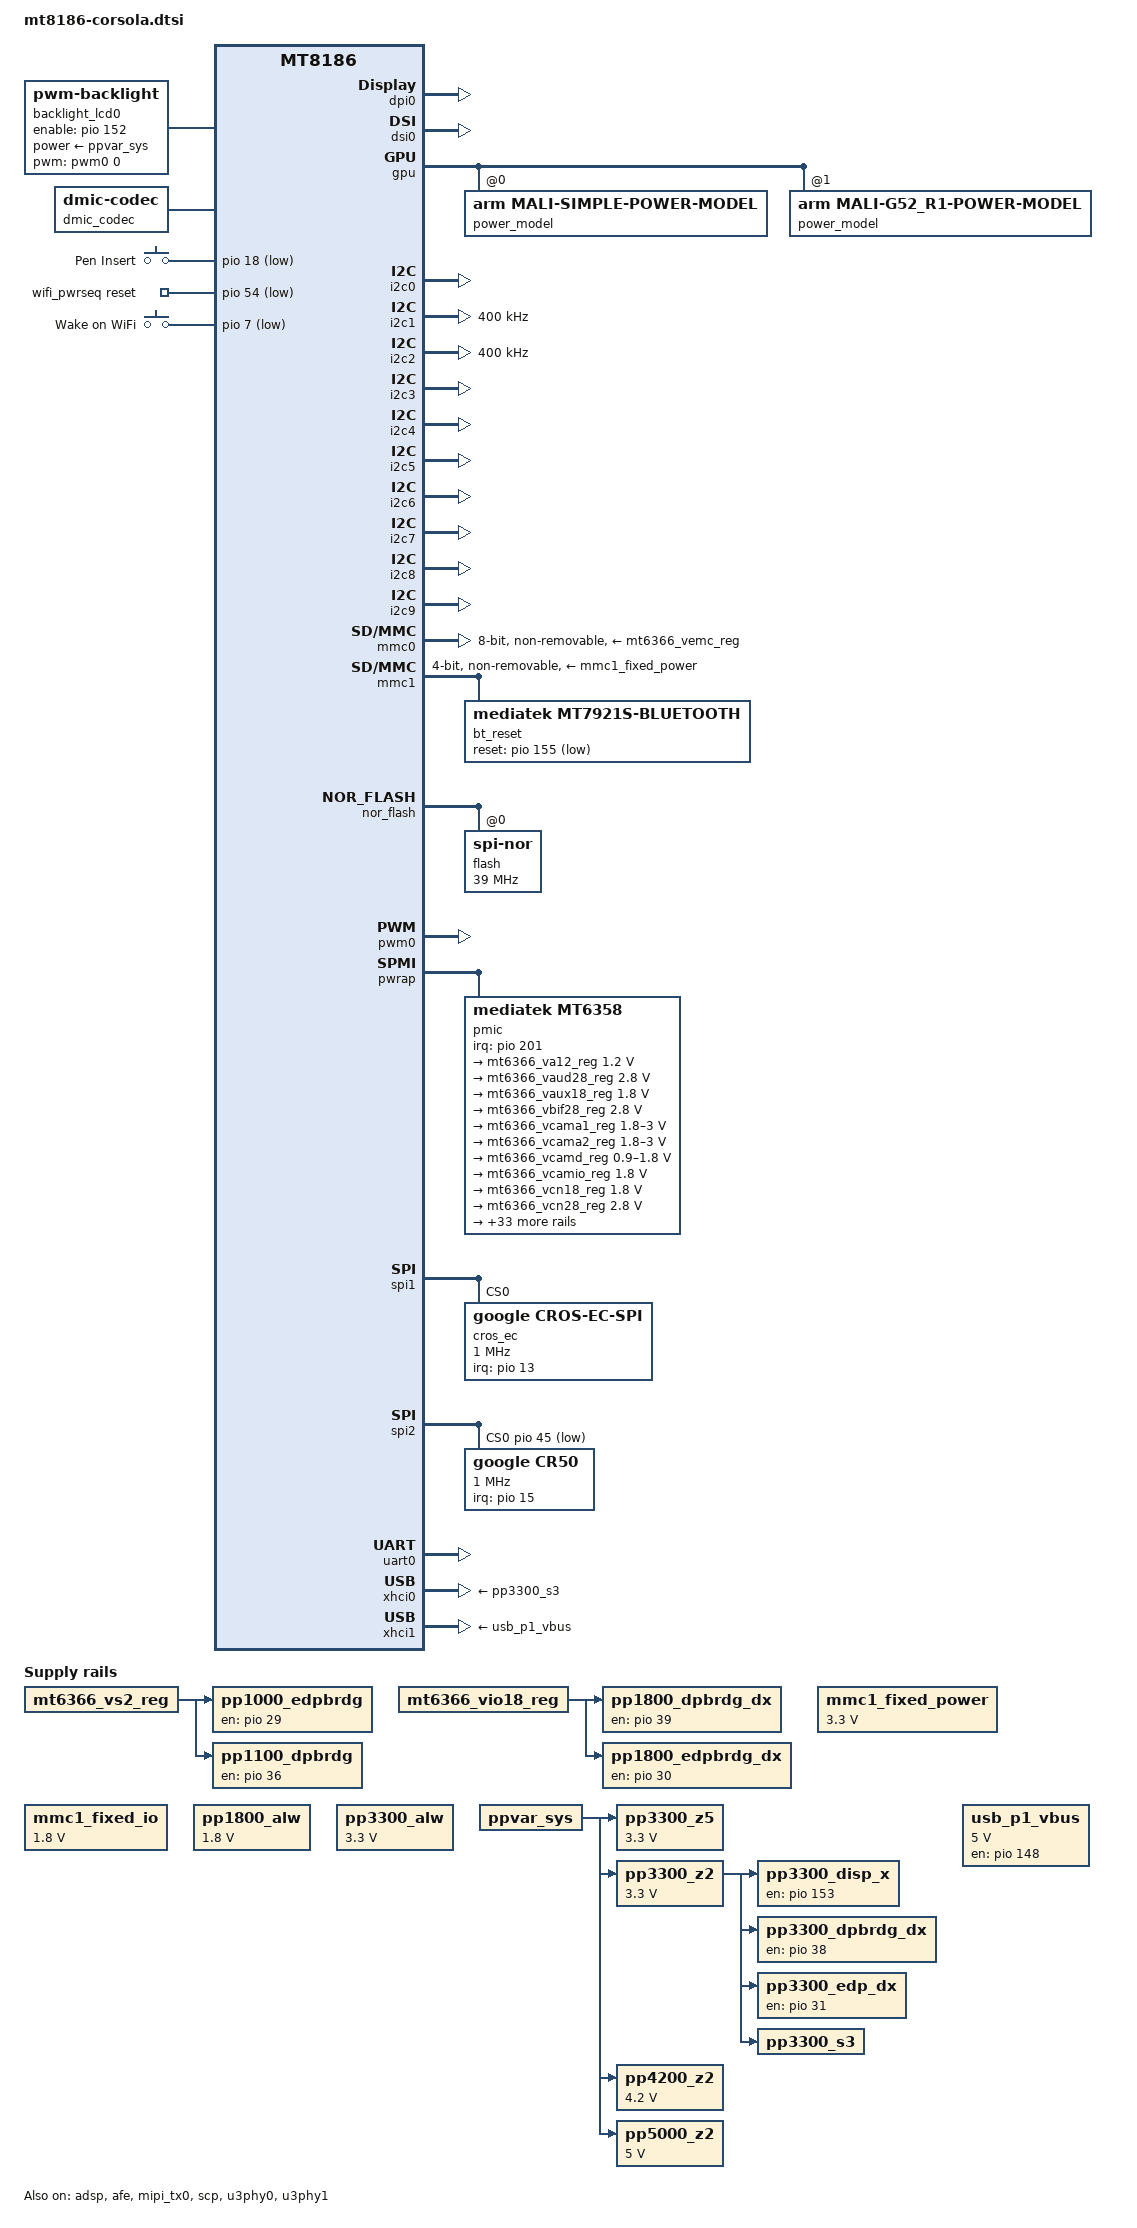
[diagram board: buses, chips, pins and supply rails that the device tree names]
// SPDX-License-Identifier: (GPL-2.0 OR MIT)
/*
 * Copyright (C) 2022 MediaTek Inc.
 */
/dts-v1/;
#include "mt8186.dtsi"
#include <dt-bindings/pinctrl/mt8186-pinfunc.h>
#include <dt-bindings/gpio/gpio.h>
#include <dt-bindings/input/input.h>
#include <dt-bindings/input/gpio-keys.h>

/ {
	aliases {
		i2c0 = &i2c0;
		i2c1 = &i2c1;
		i2c2 = &i2c2;
		i2c3 = &i2c3;
		i2c4 = &i2c4;
		i2c5 = &i2c5;
		i2c6 = &i2c6;
		i2c7 = &i2c7;
		i2c8 = &i2c8;
		i2c9 = &i2c9;
		mmc0 = &mmc0;
		mmc1 = &mmc1;
		serial0 = &uart0;
	};

	chosen {
		stdout-path = "serial0:115200n8";
	};

	memory@40000000 {
		device_type = "memory";
		/* The size should be filled in by the bootloader. */
		reg = <0 0x40000000 0 0>;
	};

	backlight_lcd0: backlight-lcd0 {
		status = "okay";

		compatible = "pwm-backlight";
		pwms = <&pwm0 0 500000>;
		power-supply = <&ppvar_sys>;
		enable-gpios = <&pio 152 0>;
		brightness-levels = <0 1023>;
		num-interpolated-steps = <1023>;
		default-brightness-level = <576>;
	};

	btsco: bt-sco {
		status = "okay";

		compatible = "linux,bt-sco";
	};

	dmic_codec: dmic-codec {
		status = "okay";

		compatible = "dmic-codec";
		num-channels = <2>;
		wakeup-delay-ms = <50>;
	};

	gpio_keys: gpio-keys {
		compatible = "gpio-keys";
		pinctrl-names = "default";
		pinctrl-0 = <&pen_eject>;

		pen_insert: pen-insert {
			label = "Pen Insert";
			/* Insert = low, eject = high */
			gpios = <&pio 18 GPIO_ACTIVE_LOW>;
			linux,code = <SW_PEN_INSERTED>;
			linux,input-type = <EV_SW>;
			wakeup-event-action = <EV_ACT_DEASSERTED>;
			wakeup-source;
		};
	};

	mmc1_fixed_power: fixedregulator@0 {
		compatible = "regulator-fixed";
		regulator-name = "mmc1_power";
		regulator-min-microvolt = <3300000>;
		regulator-max-microvolt = <3300000>;
	};

	mmc1_fixed_io: fixedregulator@1 {
		compatible = "regulator-fixed";
		regulator-name = "mmc1_io";
		regulator-min-microvolt = <1800000>;
		regulator-max-microvolt = <1800000>;
	};

	pp1000_edpbrdg: regulator-pp1000-edpbrdg {
		compatible = "regulator-fixed";
		regulator-name = "pp1000_edpbrdg";
		pinctrl-names = "default";
		pinctrl-0 = <&en_pp1000_edpbrdg>;
		enable-active-high;
		regulator-boot-on;
		gpio = <&pio 29 GPIO_ACTIVE_HIGH>;
		vin-supply = <&mt6366_vs2_reg>;
	};

	/* dp bridge anx7625bh regulators config */
	pp1100_dpbrdg: regulator-pp1100-dpbrdg {
		compatible = "regulator-fixed";
		regulator-name = "pp1100_dpbrdg";
		pinctrl-names = "default";
		pinctrl-0 = <&en_pp1100_dpbrdg>;
		enable-active-high;
		regulator-boot-on;
		gpio = <&pio 36 GPIO_ACTIVE_HIGH>;
		vin-supply = <&mt6366_vs2_reg>;
	};

	pp1800_alw: regulator-pp1800-alw {
		compatible = "regulator-fixed";
		regulator-name = "pp1800_alw";
		regulator-always-on;
		regulator-boot-on;
		regulator-min-microvolt = <1800000>;
		regulator-max-microvolt = <1800000>;
	};

	pp1800_dpbrdg_dx: regulator-pp1800-dpbrdg-dx {
		compatible = "regulator-fixed";
		regulator-name = "pp1800_dpbrdg_dx";
		pinctrl-names = "default";
		pinctrl-0 = <&en_pp1800_dpbrdg>;
		enable-active-high;
		gpio = <&pio 39 GPIO_ACTIVE_HIGH>;
		vin-supply = <&mt6366_vio18_reg>;
	};

	pp1800_edpbrdg_dx: regulator-pp1800-edpbrdg-dx {
		compatible = "regulator-fixed";
		regulator-name = "pp1800_edpbrdg_dx";
		pinctrl-names = "default";
		pinctrl-0 = <&en_pp1800_edpbrdg>;
		enable-active-high;
		regulator-boot-on;
		gpio = <&pio 30 GPIO_ACTIVE_HIGH>;
		vin-supply = <&mt6366_vio18_reg>;
	};

	pp3300_alw: regulator-pp300-alw {
		compatible = "regulator-fixed";
		regulator-name = "pp3300_alw";
		regulator-always-on;
		regulator-boot-on;
		regulator-min-microvolt = <3300000>;
		regulator-max-microvolt = <3300000>;
	};

	pp3300_disp_x: regulator-pp3300-disp-x {
		compatible = "regulator-fixed";
		regulator-name = "pp3300_disp_x";
		pinctrl-names = "default";
		pinctrl-0 = <&edp_panel_fixed_pins>;
		enable-active-high;
		regulator-boot-on;
		gpio = <&pio 153 GPIO_ACTIVE_HIGH>;
		vin-supply = <&pp3300_z2>;
	};

	pp3300_dpbrdg_dx: regulator-pp3300-dpbrdg-dx {
		compatible = "regulator-fixed";
		regulator-name = "pp3300_dpbrdg_dx";
		pinctrl-names = "default";
		pinctrl-0 = <&en_pp3300_dpbrdg>;
		enable-active-high;
		regulator-boot-on;
		gpio = <&pio 38 GPIO_ACTIVE_HIGH>;
		vin-supply = <&pp3300_z2>;
	};

	pp3300_edp_dx: regulator-pp3300-edp-dx {
		compatible = "regulator-fixed";
		regulator-name = "pp3300_edp_dx";
		pinctrl-names = "default";
		pinctrl-0 = <&en_pp3300_edpbrdg>;
		enable-active-high;
		regulator-boot-on;
		gpio = <&pio 31 GPIO_ACTIVE_HIGH>;
		vin-supply = <&pp3300_z2>;
	};

	/* system wide LDO 3.3V power rail */
	pp3300_z5: regulator-pp3300-ldo-z5 {
		compatible = "regulator-fixed";
		regulator-name = "pp3300_ldo_z5";
		regulator-always-on;
		regulator-boot-on;
		regulator-min-microvolt = <3300000>;
		regulator-max-microvolt = <3300000>;
		vin-supply = <&ppvar_sys>;
	};

	/* separately switched 3.3V power rail */
	pp3300_s3: regulator-pp3300-s3 {
		compatible = "regulator-fixed";
		regulator-name = "pp3300_s3";
		/* automatically sequenced by PMIC EXT_PMIC_EN2 */
		regulator-always-on;
		regulator-boot-on;
		vin-supply = <&pp3300_z2>;
	};

	/* system wide 3.3V power rail */
	pp3300_z2: regulator-pp3300-z2 {
		compatible = "regulator-fixed";
		regulator-name = "pp3300_z2";
		/* EN pin tied to pp4200_z2, which is controlled by EC */
		regulator-always-on;
		regulator-boot-on;
		regulator-min-microvolt = <3300000>;
		regulator-max-microvolt = <3300000>;
		vin-supply = <&ppvar_sys>;
	};

	/* system wide 4.2V power rail */
	pp4200_z2: regulator-pp4200-z2 {
		compatible = "regulator-fixed";
		regulator-name = "pp4200_z2";
		/* controlled by EC */
		regulator-always-on;
		regulator-boot-on;
		regulator-min-microvolt = <4200000>;
		regulator-max-microvolt = <4200000>;
		vin-supply = <&ppvar_sys>;
	};

	/* system wide switching 5.0V power rail */
	pp5000_z2: regulator-pp5000-z2 {
		compatible = "regulator-fixed";
		regulator-name = "pp5000_z2";
		/* controlled by EC */
		regulator-always-on;
		regulator-boot-on;
		regulator-min-microvolt = <5000000>;
		regulator-max-microvolt = <5000000>;
		vin-supply = <&ppvar_sys>;
	};

	/* system wide semi-regulated power rail from battery or USB */
	ppvar_sys: regulator-ppvar-sys {
		compatible = "regulator-fixed";
		regulator-name = "ppvar_sys";
		regulator-always-on;
		regulator-boot-on;
	};

	reserved_memory: reserved-memory {
		#address-cells = <2>;
		#size-cells = <2>;
		ranges;

		adsp_dma_mem_reserved: memory@61000000 {
			compatible = "shared-dma-pool";
			reg = <0 0x61000000 0 0x100000>;
			no-map;
		};

		adsp_mem_reserved: memory@60000000 {
			compatible = "mediatek,adsp-reserved-memory";
			no-map;
			reg = <0 0x60000000 0 0xA00000>;
		};

		scp_mem_reserved: memory@50000000 {
			compatible = "shared-dma-pool";
			reg = <0 0x50000000 0 0x10a0000>;
			no-map;
		};
	};

	sound: sound {
		mediatek,platform = <&afe>;
		pinctrl-names = "aud_clk_mosi_off",
				"aud_clk_mosi_on",
				"aud_clk_miso_off",
				"aud_clk_miso_on",
				"aud_dat_miso_off",
				"aud_dat_miso_on",
				"aud_dat_mosi_off",
				"aud_dat_mosi_on",
				"aud_gpio_i2s0_off",
				"aud_gpio_i2s0_on",
				"aud_gpio_i2s1_off",
				"aud_gpio_i2s1_on",
				"aud_gpio_i2s2_off",
				"aud_gpio_i2s2_on",
				"aud_gpio_i2s3_off",
				"aud_gpio_i2s3_on",
				"aud_gpio_tdm_off",
				"aud_gpio_tdm_on",
				"aud_gpio_pcm_off",
				"aud_gpio_pcm_on",
				"aud_gpio_dmic_sec";
		pinctrl-0 = <&aud_clk_mosi_off>;
		pinctrl-1 = <&aud_clk_mosi_on>;
		pinctrl-2 = <&aud_clk_miso_off>;
		pinctrl-3 = <&aud_clk_miso_on>;
		pinctrl-4 = <&aud_dat_miso_off>;
		pinctrl-5 = <&aud_dat_miso_on>;
		pinctrl-6 = <&aud_dat_mosi_off>;
		pinctrl-7 = <&aud_dat_mosi_on>;
		pinctrl-8 = <&aud_gpio_i2s0_off>;
		pinctrl-9 = <&aud_gpio_i2s0_on>;
		pinctrl-10 = <&aud_gpio_i2s1_off>;
		pinctrl-11 = <&aud_gpio_i2s1_on>;
		pinctrl-12 = <&aud_gpio_i2s2_off>;
		pinctrl-13 = <&aud_gpio_i2s2_on>;
		pinctrl-14 = <&aud_gpio_i2s3_off>;
		pinctrl-15 = <&aud_gpio_i2s3_on>;
		pinctrl-16 = <&aud_gpio_tdm_off>;
		pinctrl-17 = <&aud_gpio_tdm_on>;
		pinctrl-18 = <&aud_gpio_pcm_off>;
		pinctrl-19 = <&aud_gpio_pcm_on>;
		pinctrl-20 = <&aud_gpio_dmic_sec>;
		status = "disabled";
	};

	usb_p1_vbus: regulator-usb-p1-vbus {
		compatible = "regulator-fixed";
		regulator-name = "vbus1";
		regulator-min-microvolt = <5000000>;
		regulator-max-microvolt = <5000000>;
		enable-active-high;
		gpio = <&pio 148 GPIO_ACTIVE_HIGH>;
	};

	wifi_pwrseq: wifi-pwrseq {
		compatible = "mmc-pwrseq-simple";
		pinctrl-names = "default";
		pinctrl-0 = <&wifi_pins_pwrseq>;
		post-power-on-delay-ms = <50>;
		/* Toggle WLAN_MODULE_RST_L to reset the chip */
		reset-gpios = <&pio 54 1>;
	};

	wifi_wakeup: wifi-wakeup {
		compatible = "gpio-keys";
		pinctrl-names = "default";
		pinctrl-0 = <&wifi_pins_wakeup>;

		wowlan {
			label = "Wake on WiFi";
			gpios = <&pio 7 GPIO_ACTIVE_LOW>;
			linux,code = <KEY_WAKEUP>;
			wakeup-source;
		};
	};
};

&adsp {
	status = "okay";

	memory-region = <&adsp_dma_mem_reserved>,
			<&adsp_mem_reserved>;
};

&afe {
	status = "okay";

	i2s0-share = "I2S1";
	i2s3-share = "I2S2";
};

&cci {
	proc-supply = <&mt6366_vproc12_reg>;
};

&cpu0 {
	proc-supply = <&mt6366_vproc12_reg>;
};

&cpu1 {
	proc-supply = <&mt6366_vproc12_reg>;
};

&cpu2 {
	proc-supply = <&mt6366_vproc12_reg>;
};

&cpu3 {
	proc-supply = <&mt6366_vproc12_reg>;
};

&cpu4 {
	proc-supply = <&mt6366_vproc12_reg>;
};

&cpu5 {
	proc-supply = <&mt6366_vproc12_reg>;
};

&cpu6 {
	proc-supply = <&mt6366_vproc11_reg>;
};

&cpu7 {
	proc-supply = <&mt6366_vproc11_reg>;
};

&dpi0 {
	status = "okay";

	pinctrl-names = "sleep", "default";
	pinctrl-0 = <&dpi_pin_default>;
	pinctrl-1 = <&dpi_pin_func>;
};

&dsi0 {
	status = "okay";
};

&gpu {
	supply-names = "mali","sram";
	mali-supply = <&mt6366_vgpu_reg>;
	sram-supply = <&mt6366_vsram_gpu_reg>;
	operating-points-v2 = <&gpu_opp_table>;
	volt-bin-mapping = <3 4 5>;

	power_model@0 {
		compatible = "arm,mali-simple-power-model";
		static-coefficient = <2427750>;
		dynamic-coefficient = <4687>;
		ts = <20000 2000 (-20) 2>;
		thermal-zone = "soc_max";
	};

	power_model@1 {
		compatible = "arm,mali-g52_r1-power-model";
		scale = <1>;
	};
};

&i2c0 {
	status = "okay";

	pinctrl-names = "default";
	pinctrl-0 = <&i2c0_pins>;
	#address-cells = <1>;
	#size-cells = <0>;
};

&i2c1 {
	status = "okay";

	clock-frequency = <400000>;
	i2c-scl-internal-delay-ns = <8000>;
	pinctrl-names = "default";
	pinctrl-0 = <&i2c1_pins>;
	#address-cells = <1>;
	#size-cells = <0>;
};

&i2c2 {
	status = "okay";

	clock-frequency = <400000>;
	i2c-scl-internal-delay-ns = <10000>;
	pinctrl-names = "default";
	pinctrl-0 = <&i2c2_pins>;
	#address-cells = <1>;
	#size-cells = <0>;
};

&i2c3 {
	status = "okay";

	pinctrl-names = "default";
	pinctrl-0 = <&i2c3_pins>;
	#address-cells = <1>;
	#size-cells = <0>;
};

&i2c4 {
	status = "okay";

	pinctrl-names = "default";
	pinctrl-0 = <&i2c4_pins>;
	#address-cells = <1>;
	#size-cells = <0>;
};

&i2c5 {
	status = "okay";

	pinctrl-names = "default";
	pinctrl-0 = <&i2c5_pins>;
	#address-cells = <1>;
	#size-cells = <0>;
};

&i2c6 {
	status = "okay";

	pinctrl-names = "default";
	pinctrl-0 = <&i2c6_pins>;
};

&i2c7 {
	status = "okay";

	pinctrl-names = "default";
	pinctrl-0 = <&i2c7_pins>;
};

&i2c8 {
	status = "okay";

	pinctrl-names = "default";
	pinctrl-0 = <&i2c8_pins>;
};

&i2c9 {
	status = "okay";

	pinctrl-names = "default";
	pinctrl-0 = <&i2c9_pins>;
};

&mfg0 {
	domain-supply = <&mt6366_vgpu_reg>;
};

&mipi_tx0 {
	status = "okay";
};

&mmc0 {
	status = "okay";

	pinctrl-names = "default", "state_uhs";
	pinctrl-0 = <&mmc0_pins_default>;
	pinctrl-1 = <&mmc0_pins_uhs>;
	bus-width = <8>;
	max-frequency = <200000000>;
	non-removable;
	cap-mmc-highspeed;
	mmc-hs200-1_8v;
	mmc-hs400-1_8v;
	supports-cqe;
	no-sd;
	no-sdio;
	cap-mmc-hw-reset;
	hs400-ds-delay = <0x11814>;
	mediatek,hs400-ds-dly3 = <0x14>;
	vmmc-supply = <&mt6366_vemc_reg>;
	vqmmc-supply = <&mt6366_vio18_reg>;
};

&mmc1 {
	status = "okay";

	interrupt-names = "msdc", "sdio_wakeup";
	interrupts-extended = <&gic GIC_SPI 101 IRQ_TYPE_LEVEL_HIGH 0>,
			      <&pio 87 IRQ_TYPE_LEVEL_LOW>;
	pinctrl-names = "default", "state_uhs", "state_eint";
	pinctrl-0 = <&mmc1_pins_default>;
	pinctrl-1 = <&mmc1_pins_uhs>;
	pinctrl-2 = <&mmc1_pins_eint>;
	bus-width = <4>;
	max-frequency = <200000000>;
	cap-sd-highspeed;
	sd-uhs-sdr104;
	sd-uhs-sdr50;
	keep-power-in-suspend;
	wakeup-source;
	cap-sdio-irq;
	no-mmc;
	no-sd;
	non-removable;
	vmmc-supply = <&mmc1_fixed_power>;
	vqmmc-supply = <&mmc1_fixed_io>;
	mmc-pwrseq = <&wifi_pwrseq>;

	bt_reset: bt-reset {
		compatible = "mediatek,mt7921s-bluetooth";
		pinctrl-names = "default";
		pinctrl-0 = <&bt_pins_reset>;
		reset-gpios = <&pio 155 GPIO_ACTIVE_LOW>;
	};
};

&nor_flash {
	status = "okay";

	pinctrl-names = "default";
	pinctrl-0 = <&nor_pins_default>;
	#address-cells = <1>;
	#size-cells = <0>;
	assigned-clock-parents = <&topckgen CLK_TOP_MAINPLL_D7_D4>;

	flash@0 {
		compatible = "jedec,spi-nor";
		reg = <0>;
		spi-max-frequency = <39000000>;
	};
};

&pio {
	/* 185 lines */
	gpio-line-names = "TP",
			  "TP",
			  "TP",
			  "I2S0_HP_DI",
			  "I2S3_DP_SPKR_DO",
			  "SAR_INT_ODL",
			  "BT_WAKE_AP_ODL",
			  "WIFI_INT_ODL",
			  "DPBRDG_INT_ODL",
			  "EDPBRDG_INT_ODL",
			  "EC_AP_HPD_OD",
			  "TCHPAD_INT_ODL",
			  "TCHSCR_INT_1V8_ODL",
			  "EC_AP_INT_ODL",
			  "EC_IN_RW_ODL",
			  "GSC_AP_INT_ODL",
			  /*
			  * AP_FLASH_WP_L is crossystem ABI. Rev1 schematics
			  * call it AP_WP_ODL.
			  */
			  "AP_FLASH_WP_L",
			  "HP_INT_ODL",
			  "PEN_EJECT_OD",
			  "WCAM_PWDN_L",
			  "WCAM_RST_L",
			  "UCAM_SEN_EN",
			  "UCAM_RST_L",
			  "LTE_RESET_L",
			  "LTE_SAR_DETECT_L",
			  "I2S2_DP_SPK_MCK",
			  "I2S2_DP_SPKR_BCK",
			  "I2S2_DP_SPKR_LRCK",
			  "I2S2_DP_SPKR_DI (TP)",
			  "EN_PP1000_EDPBRDG",
			  "EN_PP1800_EDPBRDG",
			  "EN_PP3300_EDPBRDG",
			  "UART_GSC_TX_AP_RX",
			  "UART_AP_TX_GSC_RX",
			  "UART_DBGCON_TX_ADSP_RX",
			  "UART_ADSP_TX_DBGCON_RX",
			  "EN_PP1000_DPBRDG",
			  "TCHSCR_REPORT_DISABLE",
			  "EN_PP3300_DPBRDG",
			  "EN_PP1800_DPBRDG",
			  "SPI_AP_CLK_EC",
			  "SPI_AP_CS_EC_L",
			  "SPI_AP_DO_EC_DI",
			  "SPI_AP_DI_EC_DO",
			  "SPI_AP_CLK_GSC",
			  "SPI_AP_CS_GSC_L",
			  "SPI_AP_DO_GSC_DI",
			  "SPI_AP_DI_GSC_DO",
			  "UART_DBGCON_TX_SCP_RX",
			  "UART_SCP_TX_DBGCON_RX",
			  "EN_PP1200_CAM_X",
			  "EN_PP2800A_VCM_X",
			  "EN_PP2800A_UCAM_X",
			  "EN_PP2800A_WCAM_X",
			  "WLAN_MODULE_RST_L",
			  "EN_PP1200_UCAM_X",
			  "I2S1_HP_DO",
			  "I2S1_HP_BCK",
			  "I2S1_HP_LRCK",
			  "I2S1_HP_MCK",
			  "TCHSCR_RST_1V8_L",
			  "SPI_AP_CLK_ROM",
			  "SPI_AP_CS_ROM_L",
			  "SPI_AP_DO_ROM_DI",
			  "SPI_AP_DI_ROM_DO",
			  "NC",
			  "NC",
			  "EMMC_STRB",
			  "EMMC_CLK",
			  "EMMC_CMD",
			  "EMMC_RST_L",
			  "EMMC_DATA0",
			  "EMMC_DATA1",
			  "EMMC_DATA2",
			  "EMMC_DATA3",
			  "EMMC_DATA4",
			  "EMMC_DATA5",
			  "EMMC_DATA6",
			  "EMMC_DATA7",
			  "AP_KPCOL0",
			  "NC",
			  "NC",
			  "NC",
			  "TP",
			  "SDIO_CLK",
			  "SDIO_CMD",
			  "SDIO_DATA0",
			  "SDIO_DATA1",
			  "SDIO_DATA2",
			  "SDIO_DATA3",
			  "NC",
			  "NC",
			  "NC",
			  "NC",
			  "NC",
			  "NC",
			  "EDPBRDG_PWREN",
			  "BL_PWM_1V8",
			  "EDPBRDG_RST_L",
			  "MIPI_DPI_CLK",
			  "MIPI_DPI_VSYNC",
			  "MIPI_DPI_HSYNC",
			  "MIPI_DPI_DE",
			  "MIPI_DPI_D0",
			  "MIPI_DPI_D1",
			  "MIPI_DPI_D2",
			  "MIPI_DPI_D3",
			  "MIPI_DPI_D4",
			  "MIPI_DPI_D5",
			  "MIPI_DPI_D6",
			  "MIPI_DPI_DA7",
			  "MIPI_DPI_D8",
			  "MIPI_DPI_D9",
			  "MIPI_DPI_D10",
			  "MIPI_DPI_D11",
			  "PCM_BT_CLK",
			  "PCM_BT_SYNC",
			  "PCM_BT_DI",
			  "PCM_BT_DO",
			  "JTAG_TMS_TP",
			  "JTAG_TCK_TP",
			  "JTAG_TDI_TP",
			  "JTAG_TDO_TP",
			  "JTAG_TRSTN_TP",
			  "CLK_24M_WCAM",
			  "CLK_24M_UCAM",
			  "UCAM_DET_ODL",
			  "AP_I2C_EDPBRDG_SCL_1V8",
			  "AP_I2C_EDPBRDG_SDA_1V8",
			  "AP_I2C_TCHSCR_SCL_1V8",
			  "AP_I2C_TCHSCR_SDA_1V8",
			  "AP_I2C_TCHPAD_SCL_1V8",
			  "AP_I2C_TCHPAD_SDA_1V8",
			  "AP_I2C_DPBRDG_SCL_1V8",
			  "AP_I2C_DPBRDG_SDA_1V8",
			  "AP_I2C_WLAN_SCL_1V8",
			  "AP_I2C_WLAN_SDA_1V8",
			  "AP_I2C_AUD_SCL_1V8",
			  "AP_I2C_AUD_SDA_1V8",
			  "AP_I2C_TPM_SCL_1V8",
			  "AP_I2C_UCAM_SDA_1V8",
			  "AP_I2C_UCAM_SCL_1V8",
			  "AP_I2C_UCAM_SDA_1V8",
			  "AP_I2C_WCAM_SCL_1V8",
			  "AP_I2C_WCAM_SDA_1V8",
			  "SCP_I2C_SENSOR_SCL_1V8",
			  "SCP_I2C_SENSOR_SDA_1V8",
			  "AP_EC_WARM_RST_REQ",
			  "AP_XHCI_INIT_DONE",
			  "USB3_HUB_RST_L",
			  "EN_SPKR",
			  "BEEP_ON",
			  "AP_EDP_BKLTEN",
			  "EN_PP3300_DISP_X",
			  "EN_PP3300_SDBRDG_X",
			  "BT_KILL_1V8_L",
			  "WIFI_KILL_1V8_L",
			  "PWRAP_SPI0_CSN",
			  "PWRAP_SPI0_CK",
			  "PWRAP_SPI0_MO",
			  "PWRAP_SPI0_MI",
			  "SRCLKENA0",
			  "SRCLKENA1",
			  "SCP_VREQ_VAO",
			  "AP_RTC_CLK32K",
			  "AP_PMIC_WDTRST_L",
			  "AUD_CLK_MOSI",
			  "AUD_SYNC_MOSI",
			  "AUD_DAT_MOSI0",
			  "AUD_DAT_MOSI1",
			  "AUD_CLK_MISO",
			  "AUD_SYNC_MISO",
			  "AUD_DAT_MISO0",
			  "AUD_DAT_MISO1",
			  "NC",
			  "NC",
			  "DPBRDG_PWREN",
			  "DPBRDG_RST_L",
			  "LTE_W_DISABLE_L",
			  "LTE_SAR_DETECT_L",
			  "EN_PP3300_LTE_X",
			  "LTE_PWR_OFF_L",
			  "LTE_RESET_L",
			  "TP",
			  "TP";

	anx7625_pins: anx7625-pins {
		pins1 {
			pinmux = <PINMUX_GPIO96__FUNC_GPIO96>,
				 <PINMUX_GPIO98__FUNC_GPIO98>;
			output-low;
		};

		pins2 {
			pinmux = <PINMUX_GPIO9__FUNC_GPIO9>;
			input-enable;
			bias-pull-up;
		};
	};

	aud_clk_mosi_off: aud_clk_mosi_off {
		pins-cmd-dat {
			pinmux = <PINMUX_GPIO166__FUNC_GPIO166>,
				 <PINMUX_GPIO167__FUNC_GPIO167>;
			input-enable;
			bias-pull-down;
		};
	};

	aud_clk_mosi_on: aud_clk_mosi_on {
		pins-cmd-dat {
			pinmux = <PINMUX_GPIO166__FUNC_AUD_CLK_MOSI>,
				 <PINMUX_GPIO167__FUNC_AUD_SYNC_MOSI>;
		};
	};

	aud_clk_miso_off: aud_clk_miso_off {
		pins-cmd-dat {
			pinmux = <PINMUX_GPIO170__FUNC_GPIO170>,
				 <PINMUX_GPIO171__FUNC_GPIO171>;
			input-enable;
			bias-pull-down;
		};
	};

	aud_clk_miso_on: aud_clk_miso_on {
		pins-cmd-dat {
			pinmux = <PINMUX_GPIO170__FUNC_AUD_CLK_MISO>,
				 <PINMUX_GPIO171__FUNC_AUD_SYNC_MISO>;
		};
	};

	aud_dat_mosi_off: aud_dat_mosi_off {
		pins-cmd-dat {
			pinmux = <PINMUX_GPIO168__FUNC_GPIO168>,
				 <PINMUX_GPIO169__FUNC_GPIO169>;
			input-enable;
			bias-pull-down;
		};
	};

	aud_dat_mosi_on: aud_dat_mosi_on {
		pins-cmd-dat {
			pinmux = <PINMUX_GPIO168__FUNC_AUD_DAT_MOSI0>,
				 <PINMUX_GPIO169__FUNC_AUD_DAT_MOSI1>;
		};
	};

	aud_dat_miso_off: aud_dat_miso_off {
		pins-cmd-dat {
			pinmux = <PINMUX_GPIO172__FUNC_GPIO172>,
				 <PINMUX_GPIO173__FUNC_GPIO173>;
			input-enable;
			bias-pull-down;
		};
	};

	aud_dat_miso_on: aud_dat_miso_on {
		pins-cmd-dat {
			pinmux = <PINMUX_GPIO172__FUNC_AUD_DAT_MISO0>,
				 <PINMUX_GPIO173__FUNC_AUD_DAT_MISO1>;
			input-schmitt-enable;
			bias-disable;
		};
	};

	aud_gpio_i2s0_off: aud_gpio_i2s0_off {
		pins-cmd-dat {
			pinmux = <PINMUX_GPIO3__FUNC_GPIO3>;
		};
	};

	aud_gpio_i2s0_on: aud_gpio_i2s0_on {
		pins-cmd-dat {
			pinmux = <PINMUX_GPIO3__FUNC_I2S0_DI>;
		};
	};

	aud_gpio_i2s1_off: aud_gpio_i2s1_off {
		pins-cmd-dat {
			pinmux = <PINMUX_GPIO56__FUNC_GPIO56>,
				 <PINMUX_GPIO57__FUNC_GPIO57>,
				 <PINMUX_GPIO58__FUNC_GPIO58>,
				 <PINMUX_GPIO59__FUNC_GPIO59>;
			output-low;
		};
	};

	aud_gpio_i2s1_on: aud_gpio_i2s1_on {
		pins-cmd-dat {
			pinmux = <PINMUX_GPIO56__FUNC_I2S1_DO>,
				 <PINMUX_GPIO57__FUNC_I2S1_BCK>,
				 <PINMUX_GPIO58__FUNC_I2S1_LRCK>,
				 <PINMUX_GPIO59__FUNC_I2S1_MCK>;
		};
	};

	aud_gpio_i2s2_off: aud_gpio_i2s2_off {
		pins-cmd-dat {
			pinmux = <PINMUX_GPIO26__FUNC_GPIO26>,
				 <PINMUX_GPIO27__FUNC_GPIO27>;
			output-low;
		};
	};

	aud_gpio_i2s2_on: aud_gpio_i2s2_on {
		pins-cmd-dat {
			pinmux = <PINMUX_GPIO26__FUNC_I2S2_BCK>,
				 <PINMUX_GPIO27__FUNC_I2S2_LRCK>;
			drive-strength = <MTK_DRIVE_4mA>;
		};
	};

	aud_gpio_i2s3_off: aud_gpio_i2s3_off {
		pins-cmd-dat {
			pinmux = <PINMUX_GPIO4__FUNC_GPIO4>;
			output-low;
		};
	};

	aud_gpio_i2s3_on: aud_gpio_i2s3_on {
		pins-cmd-dat {
			pinmux = <PINMUX_GPIO4__FUNC_I2S3_DO>;
			drive-strength = <MTK_DRIVE_4mA>;
		};
	};

	aud_gpio_tdm_off: aud_gpio_tdm_off { };

	aud_gpio_tdm_on: aud_gpio_tdm_on { };

	aud_gpio_pcm_off: aud_gpio_pcm_off {
		pins-cmd-dat {
			pinmux = <PINMUX_GPIO115__FUNC_GPIO115>,
				 <PINMUX_GPIO116__FUNC_GPIO116>,
				 <PINMUX_GPIO117__FUNC_GPIO117>,
				 <PINMUX_GPIO118__FUNC_GPIO118>;
			output-low;
		};
	};

	aud_gpio_pcm_on: aud_gpio_pcm_on {
		pins-cmd-dat {
			pinmux = <PINMUX_GPIO115__FUNC_PCM_CLK>,
				 <PINMUX_GPIO116__FUNC_PCM_SYNC>,
				 <PINMUX_GPIO117__FUNC_PCM_DI>,
				 <PINMUX_GPIO118__FUNC_PCM_DO>;
		};
	};

	aud_gpio_dmic_sec: aud_gpio_dmic_sec {
		pins {
			pinmux = <PINMUX_GPIO23__FUNC_GPIO23>;
			output-low;
		};
	};

	da7219_pins: da7219-pins {
		pins1 {
			pinmux = <PINMUX_GPIO17__FUNC_GPIO17>;
			input-enable;
			bias-pull-up;
		};
	};

	dpi_pin_default: dpi-pin-default {
		pins-cmd-dat {
			pinmux = <PINMUX_GPIO103__FUNC_GPIO103>,
				 <PINMUX_GPIO104__FUNC_GPIO104>,
				 <PINMUX_GPIO105__FUNC_GPIO105>,
				 <PINMUX_GPIO106__FUNC_GPIO106>,
				 <PINMUX_GPIO107__FUNC_GPIO107>,
				 <PINMUX_GPIO108__FUNC_GPIO108>,
				 <PINMUX_GPIO109__FUNC_GPIO109>,
				 <PINMUX_GPIO110__FUNC_GPIO110>,
				 <PINMUX_GPIO111__FUNC_GPIO111>,
				 <PINMUX_GPIO112__FUNC_GPIO112>,
				 <PINMUX_GPIO113__FUNC_GPIO113>,
				 <PINMUX_GPIO114__FUNC_GPIO114>,
				 <PINMUX_GPIO101__FUNC_GPIO101>,
				 <PINMUX_GPIO100__FUNC_GPIO100>,
				 <PINMUX_GPIO102__FUNC_GPIO102>,
				 <PINMUX_GPIO99__FUNC_GPIO99>;
			drive-strength = <MTK_DRIVE_6mA>;
			output-low;
		};
	};

	dpi_pin_func: dpi-pin-func {
		pins-cmd-dat {
			pinmux = <PINMUX_GPIO103__FUNC_DPI_DATA0>,
				 <PINMUX_GPIO104__FUNC_DPI_DATA1>,
				 <PINMUX_GPIO105__FUNC_DPI_DATA2>,
				 <PINMUX_GPIO106__FUNC_DPI_DATA3>,
				 <PINMUX_GPIO107__FUNC_DPI_DATA4>,
				 <PINMUX_GPIO108__FUNC_DPI_DATA5>,
				 <PINMUX_GPIO109__FUNC_DPI_DATA6>,
				 <PINMUX_GPIO110__FUNC_DPI_DATA7>,
				 <PINMUX_GPIO111__FUNC_DPI_DATA8>,
				 <PINMUX_GPIO112__FUNC_DPI_DATA9>,
				 <PINMUX_GPIO113__FUNC_DPI_DATA10>,
				 <PINMUX_GPIO114__FUNC_DPI_DATA11>,
				 <PINMUX_GPIO101__FUNC_DPI_HSYNC>,
				 <PINMUX_GPIO100__FUNC_DPI_VSYNC>,
				 <PINMUX_GPIO102__FUNC_DPI_DE>,
				 <PINMUX_GPIO99__FUNC_DPI_PCLK>;
			drive-strength = <MTK_DRIVE_6mA>;
		};
	};

	ec_ap_int: cros-ec-irq-default-pins {
		pins1 {
			pinmux = <PINMUX_GPIO13__FUNC_GPIO13>;
			input-enable;
		};
	};

	edp_panel_fixed_pins: edp-panel-fixed-pins {
		pins1 {
			pinmux = <PINMUX_GPIO153__FUNC_GPIO153>;
			output-high;
		};
	};

	en_pp1000_edpbrdg: en-pp1000-edpbrdg {
		pins1 {
			pinmux = <PINMUX_GPIO29__FUNC_GPIO29>;
			output-low;
		};
	};

	en_pp1100_dpbrdg: en-pp1100-dpbrdg {
		pins1 {
			pinmux = <PINMUX_GPIO36__FUNC_GPIO36>;
			output-low;
		};
	};

	en_pp1800_dpbrdg: en-pp1800-dpbrdg {
		pins1 {
			pinmux = <PINMUX_GPIO39__FUNC_GPIO39>;
			output-low;
		};
	};

	en_pp1800_edpbrdg: en-pp1800-edpbrdg {
		pins1 {
			pinmux = <PINMUX_GPIO30__FUNC_GPIO30>;
			output-low;
		};
	};

	en_pp3300_dpbrdg: en-pp3300-dpbrdg {
		pins1 {
			pinmux = <PINMUX_GPIO38__FUNC_GPIO38>;
			output-low;
		};
	};

	en_pp3300_edpbrdg: en-pp3300-edpbrdg {
		pins1 {
			pinmux = <PINMUX_GPIO31__FUNC_GPIO31>;
			output-low;
		};
	};

	gsc_ap_int_odl: gsc_ap_int_odl {
		pins1 {
			pinmux = <PINMUX_GPIO15__FUNC_GPIO15>;
			input-enable;
		};
	};

	i2c0_pins: i2c0-default-pins {
		pins-bus {
			pinmux = <PINMUX_GPIO128__FUNC_SDA0>,
				 <PINMUX_GPIO127__FUNC_SCL0>;
			bias-disable;
			mediatek,drive-strength-adv = <0>;
			drive-strength = <MTK_DRIVE_4mA>;
			input-enable;
		};
	};

	i2c1_pins: i2c1-default-pins {
		pins-bus {
			pinmux = <PINMUX_GPIO130__FUNC_SDA1>,
				 <PINMUX_GPIO129__FUNC_SCL1>;
			bias-disable;
			mediatek,drive-strength-adv = <0>;
			drive-strength = <MTK_DRIVE_4mA>;
			input-enable;
		};
	};

	i2c2_pins: i2c2-default-pins {
		pins-bus {
			pinmux = <PINMUX_GPIO132__FUNC_SDA2>,
				 <PINMUX_GPIO131__FUNC_SCL2>;
			bias-disable;
			mediatek,drive-strength-adv = <0>;
			drive-strength = <MTK_DRIVE_4mA>;
			input-enable;
		};
	};

	i2c3_pins: i2c3-default-pins {
		pins-bus {
			pinmux = <PINMUX_GPIO134__FUNC_SDA3>,
				 <PINMUX_GPIO133__FUNC_SCL3>;
			bias-disable;
			mediatek,drive-strength-adv = <0>;
			drive-strength = <MTK_DRIVE_4mA>;
			input-enable;
		};
	};

	i2c4_pins: i2c4-default-pins {
		pins-bus {
			pinmux = <PINMUX_GPIO136__FUNC_SDA4>,
				 <PINMUX_GPIO135__FUNC_SCL4>;
			bias-disable;
			mediatek,drive-strength-adv = <0>;
			drive-strength = <MTK_DRIVE_4mA>;
			input-enable;
		};
	};

	i2c5_pins: i2c5-default-pins {
		pins-bus {
			pinmux = <PINMUX_GPIO138__FUNC_SDA5>,
				 <PINMUX_GPIO137__FUNC_SCL5>;
			bias-disable;
			mediatek,drive-strength-adv = <0>;
			drive-strength = <MTK_DRIVE_4mA>;
			input-enable;
		};
	};

	i2c6_pins: i2c6-default-pins {
		pins-bus {
			pinmux = <PINMUX_GPIO140__FUNC_SDA6>,
				 <PINMUX_GPIO139__FUNC_SCL6>;
			bias-pull-up = <MTK_PULL_SET_RSEL_001>;
			mediatek,drive-strength-adv = <0>;
			drive-strength = <MTK_DRIVE_4mA>;
			input-enable;
		};
	};

	i2c7_pins: i2c7-default-pins {
		pins-bus {
			pinmux = <PINMUX_GPIO142__FUNC_SDA7>,
				 <PINMUX_GPIO141__FUNC_SCL7>;
			bias-disable;
			mediatek,drive-strength-adv = <0>;
			drive-strength = <MTK_DRIVE_4mA>;
			input-enable;
		};
	};

	i2c8_pins: i2c8-default-pins {
		pins-bus {
			pinmux = <PINMUX_GPIO144__FUNC_SDA8>,
				 <PINMUX_GPIO143__FUNC_SCL8>;
			bias-disable;
			mediatek,drive-strength-adv = <0>;
			drive-strength = <MTK_DRIVE_4mA>;
			input-enable;
		};
	};

	i2c9_pins: i2c9-default-pins {
		pins-bus {
			pinmux = <PINMUX_GPIO146__FUNC_SDA9>,
				 <PINMUX_GPIO145__FUNC_SCL9>;
			bias-pull-up = <MTK_PULL_SET_RSEL_001>;
			mediatek,drive-strength-adv = <0>;
			drive-strength = <MTK_DRIVE_4mA>;
			input-enable;
		};
	};

	mmc0_pins_default: mmc0-default-pins {
		pins-clk {
			pinmux = <PINMUX_GPIO68__FUNC_MSDC0_CLK>;
			bias-pull-down = <MTK_PUPD_SET_R1R0_10>;
		};

		pins-cmd-dat {
			pinmux = <PINMUX_GPIO71__FUNC_MSDC0_DAT0>,
				 <PINMUX_GPIO72__FUNC_MSDC0_DAT1>,
				 <PINMUX_GPIO73__FUNC_MSDC0_DAT2>,
				 <PINMUX_GPIO74__FUNC_MSDC0_DAT3>,
				 <PINMUX_GPIO75__FUNC_MSDC0_DAT4>,
				 <PINMUX_GPIO76__FUNC_MSDC0_DAT5>,
				 <PINMUX_GPIO77__FUNC_MSDC0_DAT6>,
				 <PINMUX_GPIO78__FUNC_MSDC0_DAT7>,
				 <PINMUX_GPIO69__FUNC_MSDC0_CMD>;
			input-enable;
			bias-pull-up = <MTK_PUPD_SET_R1R0_01>;
		};

		pins-rst {
			pinmux = <PINMUX_GPIO70__FUNC_MSDC0_RSTB>;
			bias-pull-up = <MTK_PUPD_SET_R1R0_01>;
		};
	};

	mmc0_pins_uhs: mmc0uhs {
		pins-clk {
			pinmux = <PINMUX_GPIO68__FUNC_MSDC0_CLK>;
			drive-strength = <MTK_DRIVE_6mA>;
			bias-pull-down = <MTK_PUPD_SET_R1R0_10>;
		};

		pins-cmd-dat {
			pinmux = <PINMUX_GPIO71__FUNC_MSDC0_DAT0>,
				 <PINMUX_GPIO72__FUNC_MSDC0_DAT1>,
				 <PINMUX_GPIO73__FUNC_MSDC0_DAT2>,
				 <PINMUX_GPIO74__FUNC_MSDC0_DAT3>,
				 <PINMUX_GPIO75__FUNC_MSDC0_DAT4>,
				 <PINMUX_GPIO76__FUNC_MSDC0_DAT5>,
				 <PINMUX_GPIO77__FUNC_MSDC0_DAT6>,
				 <PINMUX_GPIO78__FUNC_MSDC0_DAT7>,
				 <PINMUX_GPIO69__FUNC_MSDC0_CMD>;
			input-enable;
			drive-strength = <MTK_DRIVE_6mA>;
			bias-pull-up = <MTK_PUPD_SET_R1R0_01>;
		};

		pins_ds {
			pinmux = <PINMUX_GPIO67__FUNC_MSDC0_DSL>;
			drive-strength = <MTK_DRIVE_6mA>;
			bias-pull-down = <MTK_PUPD_SET_R1R0_10>;
		};

		pins-rst {
			pinmux = <PINMUX_GPIO70__FUNC_MSDC0_RSTB>;
			bias-pull-up = <MTK_PUPD_SET_R1R0_01>;
		};
	};

	mmc1_pins_default: mmc1-default-pins {
		pins-clk {
			pinmux = <PINMUX_GPIO84__FUNC_MSDC1_CLK>;
			drive-strength = <MTK_DRIVE_6mA>;
			bias-pull-down = <MTK_PUPD_SET_R1R0_10>;
		};

		pins-cmd-dat {
			pinmux = <PINMUX_GPIO86__FUNC_MSDC1_DAT0>,
			         <PINMUX_GPIO87__FUNC_MSDC1_DAT1>,
			         <PINMUX_GPIO88__FUNC_MSDC1_DAT2>,
			         <PINMUX_GPIO89__FUNC_MSDC1_DAT3>,
			         <PINMUX_GPIO85__FUNC_MSDC1_CMD>;
			input-enable;
			drive-strength = <MTK_DRIVE_6mA>;
			bias-pull-up = <MTK_PUPD_SET_R1R0_01>;
		};
	};

	mmc1_pins_uhs: mmc1uhs {
		pins-clk {
			pinmux = <PINMUX_GPIO84__FUNC_MSDC1_CLK>;
			drive-strength = <MTK_DRIVE_6mA>;
			bias-pull-down = <MTK_PUPD_SET_R1R0_10>;
		};

		pins-cmd-dat {
			pinmux = <PINMUX_GPIO86__FUNC_MSDC1_DAT0>,
				 <PINMUX_GPIO87__FUNC_MSDC1_DAT1>,
				 <PINMUX_GPIO88__FUNC_MSDC1_DAT2>,
				 <PINMUX_GPIO89__FUNC_MSDC1_DAT3>,
				 <PINMUX_GPIO85__FUNC_MSDC1_CMD>;
			input-enable;
			drive-strength = <MTK_DRIVE_6mA>;
			bias-pull-up = <MTK_PUPD_SET_R1R0_01>;
		};
	};

	mmc1_pins_eint: mmc1eint {
		pins_dat1 {
			pinmux = <PINMUX_GPIO87__FUNC_GPIO87>;
			input-enable;
			bias-pull-up = <MTK_PUPD_SET_R1R0_01>;
		};
	};

	nor_pins_default: nor-default-pins {
		pins0 {
			pinmux = <PINMUX_GPIO63__FUNC_SPINOR_IO0>,
				 <PINMUX_GPIO61__FUNC_SPINOR_CK>,
				 <PINMUX_GPIO64__FUNC_SPINOR_IO1>;
			drive-strength = <MTK_DRIVE_6mA>;
			bias-pull-down;
		};

		pins1 {
			pinmux = <PINMUX_GPIO62__FUNC_SPINOR_CS>,
				 <PINMUX_GPIO65__FUNC_SPINOR_IO2>,
				 <PINMUX_GPIO66__FUNC_SPINOR_IO3>;
			drive-strength = <MTK_DRIVE_6mA>;
			bias-pull-up;
		};
	};

	panel_pins_default: panel-pins-default {
		pins-cmd-dat {
			pinmux = <PINMUX_GPIO98__FUNC_GPIO98>,
				<PINMUX_GPIO96__FUNC_GPIO96>;
			slew-rate = <1>;
			output-high;
		};
	};

	pen_eject: peneject {
		pen_eject {
			pinmux = <PINMUX_GPIO18__FUNC_GPIO18>;
			input-enable;
			/* External pull-up. */
			bias-disable;
		};
	};

	ps8640_pins: ps8640-default-pins {
		pins1 {
			pinmux = <PINMUX_GPIO96__FUNC_GPIO96>,
				 <PINMUX_GPIO98__FUNC_GPIO98>;
			output-low;
		};
	};

	pwm0_gpio_def_cfg: pwm0-default-pins {
		pins-cmd-dat {
			pinmux = <PINMUX_GPIO97__FUNC_DISP_PWM>;
			output-high;
		};
	};

	rt1019p_pins_default: rt1019p-default-pins {
		pins {
			pinmux = <PINMUX_GPIO150__FUNC_GPIO150>;
			output-low;
		};
	};

	scp_pins: scp-default-pins {
		pins-scp-uart {
			pinmux = <PINMUX_GPIO48__FUNC_TP_URXD2_AO>,
				 <PINMUX_GPIO49__FUNC_TP_UTXD2_AO>;
		};
	};

	spi_pins_0: spi0-default-pins {
		pins-spi {
			pinmux = <PINMUX_GPIO36__FUNC_SPI0_CLK_A>,
				 <PINMUX_GPIO37__FUNC_SPI0_CSB_A>,
				 <PINMUX_GPIO38__FUNC_SPI0_MO_A>,
				 <PINMUX_GPIO39__FUNC_SPI0_MI_A>;
			bias-disable;
			input-enable;
		};
	};

	spi_pins_1: spi1-default-pins {
		pins-spi {
			pinmux = <PINMUX_GPIO40__FUNC_SPI1_CLK_A>,
				 <PINMUX_GPIO41__FUNC_SPI1_CSB_A>,
				 <PINMUX_GPIO42__FUNC_SPI1_MO_A>,
				 <PINMUX_GPIO43__FUNC_SPI1_MI_A>;
			bias-disable;
			input-enable;
		};
	};

	spi_pins_2: spi2-default-pins {
		pins-spi {
			pinmux = <PINMUX_GPIO44__FUNC_SPI2_CLK_A>,
				 <PINMUX_GPIO45__FUNC_GPIO45>,
				 <PINMUX_GPIO46__FUNC_SPI2_MO_A>,
				 <PINMUX_GPIO47__FUNC_SPI2_MI_A>;
			bias-disable;
			input-enable;
		};
	};

	spi_pins_3: spi3-default-pins {
		pins-spi {
			pinmux = <PINMUX_GPIO48__FUNC_SPI3_CLK>,
				 <PINMUX_GPIO49__FUNC_SPI3_CSB>,
				 <PINMUX_GPIO50__FUNC_SPI3_MO>,
				 <PINMUX_GPIO51__FUNC_SPI3_MI>;
			bias-disable;
			input-enable;
		};
	};

	spi_pins_4: spi4-default-pins {
		pins-spi {
			pinmux = <PINMUX_GPIO10__FUNC_SPI4_CLK_A>,
				 <PINMUX_GPIO11__FUNC_SPI4_CSB_A>,
				 <PINMUX_GPIO12__FUNC_SPI4_MO_A>,
				 <PINMUX_GPIO13__FUNC_SPI4_MI_A>;
			bias-disable;
			input-enable;
		};
	};

	spi_pins_5: spi5-default-pins {
		pins-spi {
			pinmux = <PINMUX_GPIO52__FUNC_SPI5_CLK>,
				 <PINMUX_GPIO53__FUNC_SPI5_CSB>,
				 <PINMUX_GPIO54__FUNC_SPI5_MO>,
				 <PINMUX_GPIO55__FUNC_SPI5_MI>;
			bias-disable;
			input-enable;
		};
	};

	sar_sensor_pins: sar-sensor-pins {
		pin-irq {
			pinmux = <PINMUX_GPIO5__FUNC_GPIO5>;
			input-enable;
			bias-pull-up;
		};
	};

	spmi_pins: spmi {
		pins-bus {
			pinmux = <PINMUX_GPIO183__FUNC_SPMI_SCL>,
				 <PINMUX_GPIO184__FUNC_SPMI_SDA>;
		};
	};

	touchscreen_pins: touchscreen-pins {
		pin-irq {
			pinmux = <PINMUX_GPIO12__FUNC_GPIO12>;
			input-enable;
			bias-pull-up;
		};

		touch_pin_reset: pin-reset {
			pinmux = <PINMUX_GPIO60__FUNC_GPIO60>;
			output-high;
		};

		touch_pin_report_sw: pin-report-sw {
			pinmux = <PINMUX_GPIO37__FUNC_GPIO37>;
			output-low;
		};
	};

	trackpad_pins: trackpad-default-pins {
		pins-int-n {
			pinmux = <PINMUX_GPIO11__FUNC_GPIO11>;
			input-enable;
			bias-disable; /* pulled externally */
		};
	};

	wifi_pins_pwrseq: wifipwrseq {
		pins-wifi-enable {
			pinmux = <PINMUX_GPIO54__FUNC_GPIO54>;
		};
	};

	wifi_pins_wakeup: wifi-pins-wakeup {
		pins-wifi-wakeup {
			pinmux = <PINMUX_GPIO7__FUNC_GPIO7>;
			input-enable;
		};
	};

	bt_pins_reset: bt-pins-reset {
		pins_bt_reset {
			pinmux = <PINMUX_GPIO155__FUNC_GPIO155>;
			output-high;
		};
	};
};

&pwm0 {
	status = "okay";

	pinctrl-names = "default";
	pinctrl-0 = <&pwm0_gpio_def_cfg>;
};

&pwrap {
	pmic: mt6366 {
		compatible = "mediatek,mt6358",
			     "mediatek,mt6366";
		interrupt-controller;
		interrupt-parent = <&pio>;
		interrupts = <201 IRQ_TYPE_LEVEL_HIGH>;
		#interrupt-cells = <2>;

		mt6366codec: mt6366codec {
			compatible = "mediatek,mt6366-sound",
				     "mediatek,mt6358-sound";
			Avdd-supply = <&mt6366_vaud28_reg>;
			mediatek,dmic-mode = <1>; /* one-wire */
		};

		mt6366_regulators: mt6366-regulators {
			compatible = "mediatek,mt6366-regulator",
				     "mediatek,mt6358-regulator";

			mt6366_va12_reg: ldo_va12 {
				compatible = "regulator-fixed";
				regulator-name = "va12";
				regulator-min-microvolt = <1200000>;
				regulator-max-microvolt = <1200000>;
				regulator-enable-ramp-delay = <270>;
				regulator-always-on;
			};

			mt6366_vaud28_reg: ldo_vaud28 {
				compatible = "regulator-fixed";
				regulator-name = "vaud28";
				regulator-min-microvolt = <2800000>;
				regulator-max-microvolt = <2800000>;
				regulator-enable-ramp-delay = <270>;
			};

			mt6366_vaux18_reg: ldo_vaux18 {
				compatible = "regulator-fixed";
				regulator-name = "vaux18";
				regulator-min-microvolt = <1800000>;
				regulator-max-microvolt = <1800000>;
				regulator-enable-ramp-delay = <270>;
			};

			mt6366_vbif28_reg: ldo_vbif28 {
				compatible = "regulator-fixed";
				regulator-name = "vbif28";
				regulator-min-microvolt = <2800000>;
				regulator-max-microvolt = <2800000>;
				regulator-enable-ramp-delay = <270>;
			};

			mt6366_vcama1_reg: ldo_vcama1 {
				regulator-name = "vcama1";
				regulator-min-microvolt = <1800000>;
				regulator-max-microvolt = <3000000>;
				regulator-enable-ramp-delay = <325>;
			};

			mt6366_vcama2_reg: ldo_vcama2 {
				regulator-name = "vcama2";
				regulator-min-microvolt = <1800000>;
				regulator-max-microvolt = <3000000>;
				regulator-enable-ramp-delay = <325>;
			};

			mt6366_vcamd_reg: ldo_vcamd {
				regulator-name = "vcamd";
				regulator-min-microvolt = <900000>;
				regulator-max-microvolt = <1800000>;
				regulator-enable-ramp-delay = <325>;
			};

			mt6366_vcamio_reg: ldo_vcamio {
				compatible = "regulator-fixed";
				regulator-name = "vcamio";
				regulator-min-microvolt = <1800000>;
				regulator-max-microvolt = <1800000>;
				regulator-enable-ramp-delay = <325>;
			};

			mt6366_vcn18_reg: ldo_vcn18 {
				compatible = "regulator-fixed";
				regulator-name = "vcn18";
				regulator-min-microvolt = <1800000>;
				regulator-max-microvolt = <1800000>;
				regulator-enable-ramp-delay = <270>;
			};

			mt6366_vcn28_reg: ldo_vcn28 {
				compatible = "regulator-fixed";
				regulator-name = "vcn28";
				regulator-min-microvolt = <2800000>;
				regulator-max-microvolt = <2800000>;
				regulator-enable-ramp-delay = <270>;
			};

			mt6366_vcore_reg: buck_vcore {
				regulator-name = "vcore";
				regulator-min-microvolt = <500000>;
				regulator-max-microvolt = <1293750>;
				regulator-ramp-delay = <6250>;
				regulator-enable-ramp-delay = <200>;
				regulator-always-on;
				regulator-allowed-modes = <0 1>;
			};

			mt6366_vcore_sshub_reg: buck_vcore_sshub {
				regulator-name = "vcore_sshub";
				regulator-min-microvolt = <500000>;
				regulator-max-microvolt = <1293750>;
			};

			mt6366_vdram1_reg: buck_vdram1 {
				regulator-name = "vdram1";
				regulator-min-microvolt = <500000>;
				regulator-max-microvolt = <2087500>;
				regulator-ramp-delay = <12500>;
				regulator-enable-ramp-delay = <0>;
				regulator-always-on;
				regulator-allowed-modes = <0 1>;
			};

			mt6366_vdram2_reg: ldo_vdram2 {
				regulator-name = "vdram2";
				regulator-min-microvolt = <600000>;
				regulator-max-microvolt = <1800000>;
				regulator-enable-ramp-delay = <3300>;
				regulator-always-on;
			};

			mt6366_vefuse_reg: ldo_vefuse {
				regulator-name = "vefuse";
				regulator-min-microvolt = <1700000>;
				regulator-max-microvolt = <1900000>;
				regulator-enable-ramp-delay = <270>;
			};

			mt6366_vfe28_reg: ldo_vfe28 {
				compatible = "regulator-fixed";
				regulator-name = "vfe28";
				regulator-min-microvolt = <2800000>;
				regulator-max-microvolt = <2800000>;
				regulator-enable-ramp-delay = <270>;
			};

			mt6366_vemc_reg: ldo_vemc {
				regulator-name = "vemc";
				regulator-min-microvolt = <2900000>;
				regulator-max-microvolt = <3000000>;
				regulator-enable-ramp-delay = <60>;
			};

			mt6366_vgpu_reg: buck_vgpu {
				regulator-name = "vgpu";
				regulator-min-microvolt = <500000>;
				regulator-max-microvolt = <1293750>;
				regulator-ramp-delay = <6250>;
				regulator-enable-ramp-delay = <200>;
				regulator-allowed-modes = <0 1>;
			};

			mt6366_vibr_reg: ldo_vibr {
				regulator-name = "vibr";
				regulator-min-microvolt = <1200000>;
				regulator-max-microvolt = <3300000>;
				regulator-enable-ramp-delay = <60>;
			};

			mt6366_vio18_reg: ldo_vio18 {
				compatible = "regulator-fixed";
				regulator-name = "vio18";
				regulator-min-microvolt = <1800000>;
				regulator-max-microvolt = <1800000>;
				regulator-enable-ramp-delay = <2700>;
				regulator-always-on;
			};

			mt6366_vio28_reg: ldo_vio28 {
				compatible = "regulator-fixed";
				regulator-name = "vio28";
				regulator-min-microvolt = <2800000>;
				regulator-max-microvolt = <2800000>;
				regulator-enable-ramp-delay = <270>;
			};

			mt6366_vldo28_reg: ldo_vldo28 {
				regulator-name = "vldo28";
				regulator-min-microvolt = <2800000>;
				regulator-max-microvolt = <3000000>;
				regulator-enable-ramp-delay = <270>;
			};

			mt6366_vmc_reg: ldo_vmc {
				regulator-name = "vmc";
				regulator-min-microvolt = <1800000>;
				regulator-max-microvolt = <1800000>;
				regulator-enable-ramp-delay = <60>;
			};

			mt6366_vmch_reg: ldo_vmch {
				regulator-name = "vmch";
				regulator-min-microvolt = <2900000>;
				regulator-max-microvolt = <3300000>;
				regulator-enable-ramp-delay = <60>;
			};

			mt6366_vmodem_reg: buck_vmodem {
				regulator-name = "vmodem";
				regulator-min-microvolt = <500000>;
				regulator-max-microvolt = <1293750>;
				regulator-ramp-delay = <6250>;
				regulator-enable-ramp-delay = <900>;
				regulator-always-on;
				regulator-allowed-modes = <0 1>;
			};

			mt6366_vcn33_bt_reg: ldo_vcn33_bt {
				regulator-name = "vcn33_bt";
				regulator-min-microvolt = <3300000>;
				regulator-max-microvolt = <3500000>;
				regulator-enable-ramp-delay = <270>;
			};

			mt6366_vcn33_wifi_reg: ldo_vcn33_wifi {
				regulator-name = "vcn33_wifi";
				regulator-min-microvolt = <3300000>;
				regulator-max-microvolt = <3500000>;
				regulator-enable-ramp-delay = <270>;
			};

			mt6366_vpa_reg: buck_vpa {
				regulator-name = "vpa";
				regulator-min-microvolt = <500000>;
				regulator-max-microvolt = <3650000>;
				regulator-ramp-delay = <50000>;
				regulator-enable-ramp-delay = <250>;
				regulator-allowed-modes = <0 1>;
			};

			mt6366_vproc11_reg: buck_vproc11 {
				regulator-name = "vproc11";
				regulator-min-microvolt = <500000>;
				regulator-max-microvolt = <1293750>;
				regulator-ramp-delay = <6250>;
				regulator-enable-ramp-delay = <200>;
				regulator-always-on;
				regulator-allowed-modes = <0 1>;
			};

			mt6366_vproc12_reg: buck_vproc12 {
				regulator-name = "vproc12";
				regulator-min-microvolt = <500000>;
				regulator-max-microvolt = <1293750>;
				regulator-ramp-delay = <6250>;
				regulator-enable-ramp-delay = <200>;
				regulator-always-on;
				regulator-allowed-modes = <0 1>;
			};

			mt6366_vrf12_reg: ldo_vrf12 {
				compatible = "regulator-fixed";
				regulator-name = "vrf12";
				regulator-min-microvolt = <1200000>;
				regulator-max-microvolt = <1200000>;
				regulator-enable-ramp-delay = <120>;
			};

			mt6366_vrf18_reg: ldo_vrf18 {
				compatible = "regulator-fixed";
				regulator-name = "vrf18";
				regulator-min-microvolt = <1800000>;
				regulator-max-microvolt = <1800000>;
				regulator-enable-ramp-delay = <120>;
			};

			mt6366_vs1_reg: buck_vs1 {
				regulator-name = "vs1";
				regulator-min-microvolt = <1000000>;
				regulator-max-microvolt = <2587500>;
				regulator-ramp-delay = <12500>;
				regulator-enable-ramp-delay = <0>;
				regulator-always-on;
			};

			mt6366_vs2_reg: buck_vs2 {
				regulator-name = "vs2";
				regulator-min-microvolt = <500000>;
				regulator-max-microvolt = <2087500>;
				regulator-ramp-delay = <12500>;
				regulator-enable-ramp-delay = <0>;
				regulator-always-on;
			};

			mt6366_vsim1_reg: ldo_vsim1 {
				regulator-name = "vsim1";
				regulator-min-microvolt = <1700000>;
				regulator-max-microvolt = <3100000>;
				regulator-enable-ramp-delay = <540>;
			};

			mt6366_vsim2_reg: ldo_vsim2 {
				regulator-name = "vsim2";
				regulator-min-microvolt = <2700000>;
				regulator-max-microvolt = <2700000>;
				regulator-enable-ramp-delay = <540>;
			};

			mt6366_vsram_gpu_reg: ldo_vsram_gpu {
				regulator-name = "vsram_gpu";
				regulator-min-microvolt = <500000>;
				regulator-max-microvolt = <1293750>;
				regulator-ramp-delay = <6250>;
				regulator-enable-ramp-delay = <240>;
			};

			mt6366_vsram_others_reg: ldo_vsram_others {
				regulator-name = "vsram_others";
				regulator-min-microvolt = <500000>;
				regulator-max-microvolt = <1293750>;
				regulator-ramp-delay = <6250>;
				regulator-enable-ramp-delay = <240>;
				regulator-always-on;
			};

			mt6366_vsram_others_sshub_reg: ldo_vsram_others_sshub {
				regulator-name = "vsram_others_sshub";
				regulator-min-microvolt = <500000>;
				regulator-max-microvolt = <1293750>;
			};

			mt6366_vsram_proc11_reg: ldo_vsram_proc11 {
				regulator-name = "vsram_proc11";
				regulator-min-microvolt = <500000>;
				regulator-max-microvolt = <1293750>;
				regulator-ramp-delay = <6250>;
				regulator-enable-ramp-delay = <240>;
				regulator-always-on;
			};

			mt6366_vsram_proc12_reg: ldo_vsram_proc12 {
				regulator-name = "vsram_proc12";
				regulator-min-microvolt = <500000>;
				regulator-max-microvolt = <1293750>;
				regulator-ramp-delay = <6250>;
				regulator-enable-ramp-delay = <240>;
				regulator-always-on;
			};

			mt6366_vusb_reg: ldo_vusb {
				regulator-name = "vusb";
				regulator-min-microvolt = <3000000>;
				regulator-max-microvolt = <3100000>;
				regulator-enable-ramp-delay = <270>;
				regulator-always-on;
			};

			mt6366_vxo22_reg: ldo_vxo22 {
				compatible = "regulator-fixed";
				regulator-name = "vxo22";
				regulator-min-microvolt = <2200000>;
				regulator-max-microvolt = <2200000>;
				regulator-enable-ramp-delay = <120>;
				regulator-always-on;
			};
		};

		mt6366rtc: mt6366rtc {
			compatible = "mediatek,mt6366-rtc", "mediatek,mt6358-rtc";
		};
	};
};

&scp {
	status = "okay";

	memory-region = <&scp_mem_reserved>;
	pinctrl-names = "default";
	pinctrl-0 = <&scp_pins>;

	cros-ec-rpmsg {
		compatible = "google,cros-ec-rpmsg";
		mediatek,rpmsg-name = "cros-ec-rpmsg";
	};
};

&spi0 {
	status = "disabled";

	pinctrl-names = "default";
	pinctrl-0 = <&spi_pins_0>;
	mediatek,pad-select = <0>;

	spidev0: spi@0 {
		compatible = "mediatek,spi-mt65xx-test";
		reg = <0>;
		spi-max-frequency = <1000000>;
	};
};

&spi1 {
	status = "okay";

	pinctrl-names = "default";
	pinctrl-0 = <&spi_pins_1>;
	mediatek,pad-select = <0>;

	cros_ec: ec@0 {
		compatible = "google,cros-ec-spi";
		reg = <0>;
		spi-max-frequency = <1000000>;
		interrupt-parent = <&pio>;
		interrupts = <13 IRQ_TYPE_LEVEL_LOW>;
		pinctrl-names = "default";
		pinctrl-0 = <&ec_ap_int>;

		i2c_tunnel: i2c-tunnel {
			compatible = "google,cros-ec-i2c-tunnel";
			google,remote-bus = <1>;
			#address-cells = <1>;
			#size-cells = <0>;
		};

		typec {
			compatible = "google,cros-ec-typec";
			#address-cells = <1>;
			#size-cells = <0>;

			usb_c0: connector@0 {
				compatible = "usb-c-connector";
				reg = <0>;
				label = "left";
				power-role = "dual";
				data-role = "host";
				try-power-role = "source";

				ports {
					#address-cells = <1>;
					#size-cells = <0>;

					port@1 {
						reg = <1>;

						typec_port0: endpoint { };
					};
				};
			};

			usb_c1: connector@1 {
				compatible = "usb-c-connector";
				reg = <1>;
				label = "right";
				power-role = "dual";
				data-role = "host";
				try-power-role = "source";

				ports {
					#address-cells = <1>;
					#size-cells = <0>;

					port@1 {
						reg = <1>;

						typec_port1: endpoint { };
					};
				};
			};
		};
	};
};

&spi2 {
	status = "okay";

	pinctrl-names = "default";
	pinctrl-0 = <&spi_pins_2>;
	cs-gpios = <&pio 45 GPIO_ACTIVE_LOW>;
	mediatek,pad-select = <0>;

	cr50: cr50@0 {
		compatible = "google,cr50";
		reg = <0>;
		spi-max-frequency = <1000000>;
		pinctrl-names = "default";
		pinctrl-0 = <&gsc_ap_int_odl>;
		interrupt-parent = <&pio>;
		interrupts = <15 IRQ_TYPE_EDGE_RISING>;
	};
};

&spi3 {
	status = "disabled";

	pinctrl-names = "default";
	pinctrl-0 = <&spi_pins_3>;
	mediatek,pad-select = <0>;

	spidev3: spi@0 {
		compatible = "mediatek,spi-mt65xx-test";
		reg = <0>;
		spi-max-frequency = <1000000>;
	};
};

&spi4 {
	status = "disabled";

	pinctrl-names = "default";
	pinctrl-0 = <&spi_pins_4>;
	mediatek,pad-select = <0>;

	spidev4: spi@0 {
		compatible = "mediatek,spi-mt65xx-test";
		reg = <0>;
		spi-max-frequency = <1000000>;
	};
};

&spi5 {
	status = "disabled";

	pinctrl-names = "default";
	pinctrl-0 = <&spi_pins_5>;
	mediatek,pad-select = <0>;

	spidev5: spi@0 {
		compatible = "mediatek,spi-mt65xx-test";
		reg = <0>;
		spi-max-frequency = <1000000>;
	};
};

&u3phy0 {
	status = "okay";
};

&u3phy1 {
	status = "okay";
};


&uart0 {
	status = "okay";
};

&xhci0 {
	status = "okay";

	vbus-supply = <&pp3300_s3>;
};

&xhci1 {
	status = "okay";

	#address-cells = <2>;
	#size-cells = <2>;
	vbus-supply = <&usb_p1_vbus>;
};

#include <arm/cros-ec-keyboard.dtsi>
#include <arm/cros-ec-sbs.dtsi>
